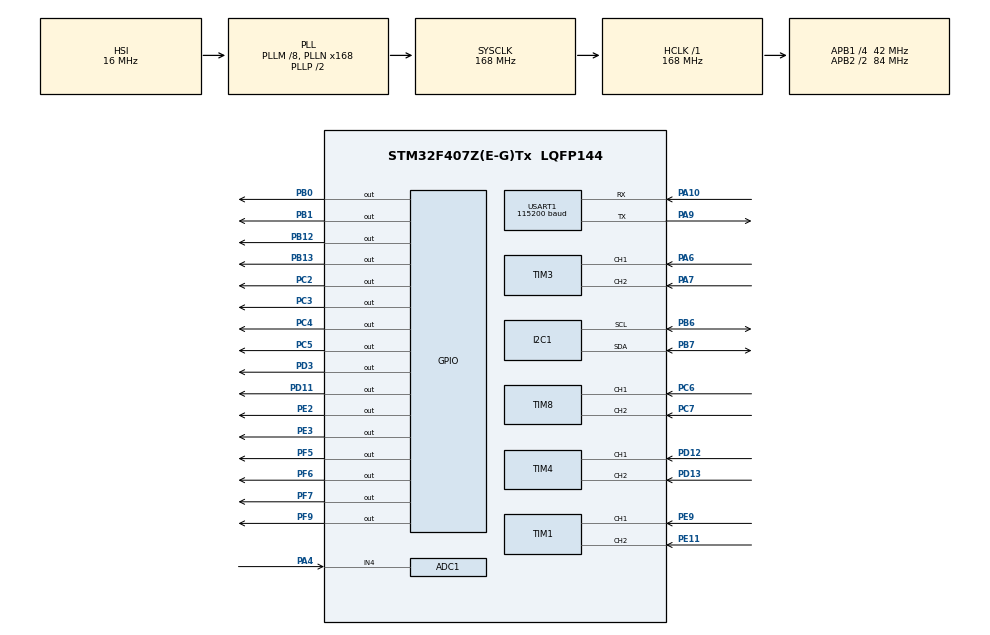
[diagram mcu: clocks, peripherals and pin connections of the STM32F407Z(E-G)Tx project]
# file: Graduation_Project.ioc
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ADC1.Channel-1\#ChannelRegularConversion=ADC_CHANNEL_4
ADC1.NbrOfConversionFlag=1
ADC1.Rank-1\#ChannelRegularConversion=1
ADC1.SamplingTime-1\#ChannelRegularConversion=ADC_SAMPLETIME_3CYCLES
ADC1.master=1
Dma.Request0=USART1_RX
Dma.Request1=USART1_TX
Dma.USART1_RX.0.Direction=DMA_PERIPH_TO_MEMORY
Dma.USART1_RX.0.FIFOMode=DMA_FIFOMODE_DISABLE
Dma.USART1_RX.0.Instance=DMA2_Stream2
Dma.USART1_RX.0.MemDataAlignment=DMA_MDATAALIGN_BYTE
Dma.USART1_RX.0.MemInc=DMA_MINC_ENABLE
Dma.USART1_RX.0.Mode=DMA_NORMAL
Dma.USART1_RX.0.PeriphDataAlignment=DMA_PDATAALIGN_BYTE
Dma.USART1_RX.0.PeriphInc=DMA_PINC_DISABLE
Dma.USART1_RX.0.Priority=DMA_PRIORITY_LOW
Dma.USART1_TX.1.Direction=DMA_MEMORY_TO_PERIPH
Dma.USART1_TX.1.FIFOMode=DMA_FIFOMODE_DISABLE
Dma.USART1_TX.1.Instance=DMA2_Stream7
Dma.USART1_TX.1.MemDataAlignment=DMA_MDATAALIGN_BYTE
Dma.USART1_TX.1.MemInc=DMA_MINC_ENABLE
Dma.USART1_TX.1.Mode=DMA_NORMAL
Dma.USART1_TX.1.PeriphDataAlignment=DMA_PDATAALIGN_BYTE
Dma.USART1_TX.1.PeriphInc=DMA_PINC_DISABLE
Dma.USART1_TX.1.Priority=DMA_PRIORITY_LOW
Mcu.Family=STM32F4
Mcu.Name=STM32F407Z(E-G)Tx
Mcu.Package=LQFP144
NVIC.DMA2_Stream2_IRQn=true\:0\:0\:false\:false\:true\:false\:true\:true
NVIC.DMA2_Stream7_IRQn=true\:0\:0\:false\:false\:true\:false\:true\:true
NVIC.PriorityGroup=NVIC_PRIORITYGROUP_4
NVIC.TIM7_IRQn=true\:3\:0\:true\:false\:true\:true\:true\:true
NVIC.TIM8_BRK_TIM12_IRQn=true\:3\:0\:true\:false\:true\:true\:true\:true
NVIC.TIM8_TRG_COM_TIM14_IRQn=true\:3\:0\:true\:false\:true\:true\:true\:true
NVIC.TIM8_UP_TIM13_IRQn=true\:3\:0\:true\:false\:true\:true\:true\:true
NVIC.USART1_IRQn=true\:0\:0\:false\:false\:true\:true\:true\:true
PA10.Mode=Asynchronous
PA10.Signal=USART1_RX
PA13.Mode=Serial_Wire
PA13.Signal=SYS_JTMS-SWDIO
PA14.Mode=Serial_Wire
PA14.Signal=SYS_JTCK-SWCLK
PA4.Signal=ADCx_IN4
PA6.GPIO_PuPd=GPIO_PULLUP
PA6.Signal=S_TIM3_CH1
PA7.GPIO_PuPd=GPIO_PULLUP
PA7.Signal=S_TIM3_CH2
PA9.Mode=Asynchronous
PA9.Signal=USART1_TX
PB0.GPIO_PuPd=GPIO_PULLUP
PB0.Signal=GPIO_Output
PB1.GPIO_PuPd=GPIO_PULLUP
PB1.Signal=GPIO_Output
PB12.GPIO_PuPd=GPIO_PULLUP
PB12.Signal=GPIO_Output
PB13.GPIO_PuPd=GPIO_PULLUP
PB13.Signal=GPIO_Output
PB6.Mode=I2C
PB6.Signal=I2C1_SCL
PB7.Mode=I2C
PB7.Signal=I2C1_SDA
PC14-OSC32_IN.Mode=LSE-External-Oscillator
PC14-OSC32_IN.Signal=RCC_OSC32_IN
PC15-OSC32_OUT.Mode=LSE-External-Oscillator
PC15-OSC32_OUT.Signal=RCC_OSC32_OUT
PC2.Signal=GPIO_Output
PC3.Signal=GPIO_Output
PC4.Signal=GPIO_Output
PC5.GPIO_PuPd=GPIO_PULLUP
PC5.Signal=GPIO_Output
PC6.GPIO_PuPd=GPIO_PULLUP
PC6.Signal=S_TIM8_CH1
PC7.GPIO_PuPd=GPIO_PULLUP
PC7.Signal=S_TIM8_CH2
PD11.GPIO_PuPd=GPIO_PULLUP
PD11.Signal=GPIO_Output
PD12.GPIO_PuPd=GPIO_PULLUP
PD12.Signal=S_TIM4_CH1
PD13.GPIO_PuPd=GPIO_PULLUP
PD13.Signal=S_TIM4_CH2
PD3.Signal=GPIO_Output
PE11.GPIO_PuPd=GPIO_PULLUP
PE11.Signal=S_TIM1_CH2
PE2.Signal=GPIO_Output
PE3.Signal=GPIO_Output
PE9.GPIO_PuPd=GPIO_PULLUP
PE9.Signal=S_TIM1_CH1
PF5.GPIO_PuPd=GPIO_PULLUP
PF5.Signal=GPIO_Output
PF6.GPIO_PuPd=GPIO_PULLUP
PF6.Signal=GPIO_Output
PF7.GPIO_PuPd=GPIO_PULLUP
PF7.Signal=GPIO_Output
PF9.Signal=GPIO_Output
PH0-OSC_IN.Mode=HSE-External-Oscillator
PH0-OSC_IN.Signal=RCC_OSC_IN
PH1-OSC_OUT.Mode=HSE-External-Oscillator
PH1-OSC_OUT.Signal=RCC_OSC_OUT
ProjectManager.HeapSize=0x200
ProjectManager.StackSize=0x400
ProjectManager.TargetToolchain=MDK-ARM V5.32
RCC.48MHZClocksFreq_Value=84000000
RCC.AHBFreq_Value=168000000
RCC.APB1CLKDivider=RCC_HCLK_DIV4
RCC.APB1Freq_Value=42000000
RCC.APB1TimFreq_Value=84000000
RCC.APB2CLKDivider=RCC_HCLK_DIV2
RCC.APB2Freq_Value=84000000
RCC.APB2TimFreq_Value=168000000
RCC.CortexFreq_Value=168000000
RCC.HCLKFreq_Value=168000000
RCC.HSE_VALUE=8000000
RCC.HSI_VALUE=16000000
RCC.PLLM=8
RCC.PLLN=168
RCC.SYSCLKFreq_VALUE=168000000
RCC.SYSCLKSource=RCC_SYSCLKSOURCE_PLLCLK
RCC.VCOOutputFreq_Value=336000000
SH.ADCx_IN4.0=ADC1_IN4,IN4
SH.S_TIM1_CH1.0=TIM1_CH1,Encoder_Interface
SH.S_TIM1_CH2.0=TIM1_CH2,Encoder_Interface
SH.S_TIM3_CH1.0=TIM3_CH1,Encoder_Interface
SH.S_TIM3_CH2.0=TIM3_CH2,Encoder_Interface
SH.S_TIM4_CH1.0=TIM4_CH1,Encoder_Interface
SH.S_TIM4_CH2.0=TIM4_CH2,Encoder_Interface
SH.S_TIM8_CH1.0=TIM8_CH1,Encoder_Interface
SH.S_TIM8_CH2.0=TIM8_CH2,Encoder_Interface
TIM1.EncoderMode=TIM_ENCODERMODE_TI12
TIM1.IC1Filter=6
TIM1.IC1Prescaler=TIM_ICPSC_DIV2
TIM1.IC2Filter=6
TIM1.IC2Prescaler=TIM_ICPSC_DIV2
TIM12.Period=499
TIM12.Prescaler=167
TIM13.Period=499
TIM13.Prescaler=167
TIM14.Period=499
TIM14.Prescaler=167
TIM3.EncoderMode=TIM_ENCODERMODE_TI12
TIM3.IC1Filter=6
TIM3.IC1Prescaler=TIM_ICPSC_DIV2
TIM3.IC2Filter=6
TIM3.IC2Prescaler=TIM_ICPSC_DIV2
TIM4.EncoderMode=TIM_ENCODERMODE_TI12
TIM4.IC1Filter=6
TIM4.IC1Prescaler=TIM_ICPSC_DIV2
TIM4.IC2Filter=6
TIM4.IC2Prescaler=TIM_ICPSC_DIV2
TIM7.Period=499
TIM7.Prescaler=167
TIM8.EncoderMode=TIM_ENCODERMODE_TI12
TIM8.IC1Filter=6
TIM8.IC1Prescaler=TIM_ICPSC_DIV2
TIM8.IC2Filter=6
TIM8.IC2Prescaler=TIM_ICPSC_DIV2
USART1.BaudRate=115200
USART1.VirtualMode=VM_ASYNC
VP_TIM12_VS_ClockSourceINT.Mode=Internal
VP_TIM13_VS_ClockSourceINT.Mode=Enable_Timer
VP_TIM14_VS_ClockSourceINT.Mode=Enable_Timer
VP_TIM7_VS_ClockSourceINT.Mode=Enable_Timer
board=custom

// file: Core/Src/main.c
/* USER CODE BEGIN Header */
/**
 ******************************************************************************
 * @file           : main.c
 * @brief          : Main program body
 ******************************************************************************
 * @attention
 *
 * Copyright (c) 2023 STMicroelectronics.
 * All rights reserved.
 *
 * This software is licensed under terms that can be found in the LICENSE file
 * in the root directory of this software component.
 * If no LICENSE file comes with this software, it is provided AS-IS.
 *
 ******************************************************************************
 */
/* USER CODE END Header */
#include "main.h"
#include "adc.h"
#include "dma.h"
#include "i2c.h"
#include "tim.h"
#include "usart.h"
#include "gpio.h"

/* USER CODE BEGIN Includes */
#include "motor.h"
#include "ds18b20.h"
/* USER CODE END Includes */

/* USER CODE BEGIN PV */
int Sys_Count = 0;
short temp;
extern uint8_t UART1_Speed_Flag;
extern uint8_t UART1_Report_Flag;
extern uint8_t UART1_Setting_Flag;
extern Motor_Parameter MOTOR_Parameters[];
extern uint8_t direction_Flag;
extern uint8_t Motor_Start_Flag;
/* USER CODE END PV */

void SystemClock_Config(void);

/* USER CODE BEGIN 0 */
// 要点选microlib
/**
 * @description: 重定向printf到串口输出
 * @param {int} ch
 * @param {FILE} *f
 * @return {*}
 */
int fputc(int ch, FILE *f)
{
  // 这里如果用DMA的话不太行，只能输出一个字节
  HAL_UART_Transmit(&huart1, (uint8_t *)&ch, 1, 1000);
  return ch;
}
/**
 * 此延时函数代码适用于HAL库
 */
void delay_us(uint32_t delay)
{
  int last, curr, val;
  int temp;

  while (delay != 0)
  {
    temp = delay > 900 ? 900 : delay;
    last = SysTick->VAL;
    curr = last - CPU_FREQUENCY_MHZ * temp;
    if (curr >= 0)
    {
      do
      {
        val = SysTick->VAL;
      } while ((val < last) && (val >= curr));
    }
    else
    {
      curr += CPU_FREQUENCY_MHZ * 1000;
      do
      {
        val = SysTick->VAL;
      } while ((val <= last) || (val > curr));
    }
    delay -= temp;
  }
}

/**
 * @description: 定时器回调函数
 * @param {TIM_HandleTypeDef} *htim 定时器指令
 * @return {*}
 */
void HAL_TIM_PeriodElapsedCallback(TIM_HandleTypeDef *htim)
{
  // 轮速脉冲输出
  if (htim->Instance == TIM7)
  {
    MOTOR1_SPEED;
  }
  if (htim->Instance == TIM12)
  {
    MOTOR2_SPEED;
  }
  if (htim->Instance == TIM13)
  {
    MOTOR3_SPEED;
  }
  if (htim->Instance == TIM14)
  {
    MOTOR4_SPEED;
  }
}
void HAL_SYSTICK_Callback(void)
{
  Sys_Count++;
  if (Sys_Count == 100) // 每0.1s传输一次速度数据 //编码器上限是32768
  {
    // HAL_GPIO_WritePin(GPIOF, GPIO_PIN_9, GPIO_PIN_RESET);
    //  填写电机参数
    Get_Encoder();
    // printf("%d",__HAL_TIM_GET_CLOCKDIVISION(&MOTOR_Parameters[0].htim_speed));
    // 暂时取消读取电流电压信息
    // Get_INA226();
    // printf("%d,%d",MOTOR_Parameters[0].current,MOTOR_Parameters[0].voltage);
    if (UART1_Report_Flag)
    {
      UART_Report_Handler(MOTOR_Parameters);
    }
    Sys_Count = 0;
    // temp=DS18B20_Get_Temperature();
    // printf("当前温度%0.2f \r\n",(float)temp/10);
  }
}
/* USER CODE END 0 */

int main(void)
{

  /* MCU Configuration--------------------------------------------------------*/

  /* Reset of all peripherals, Initializes the Flash interface and the Systick. */
  HAL_Init();

  /* Configure the system clock */
  SystemClock_Config();

  /* Initialize all configured peripherals */
  MX_GPIO_Init();
  MX_DMA_Init();
  MX_TIM1_Init();
  MX_TIM8_Init();
  MX_TIM14_Init();
  MX_TIM3_Init();
  MX_TIM4_Init();
  MX_TIM12_Init();
  MX_TIM13_Init();
  MX_TIM7_Init();
  MX_USART1_UART_Init();
  MX_I2C1_Init();
  MX_ADC1_Init();

  /* USER CODE BEGIN 2 */
  // 用哪个串口，发什么东西，东西长度多少，超时多少ms
  uint8_t activate_text[] = "MCU Activated";
  HAL_UART_Transmit_DMA(&huart1, activate_text, sizeof(activate_text));
  // 用哪个串口，收什么东西，长度多少
  // HAL_UART_Receive_IT(&huart1, (uint8_t *)aRxBuffer, 1);
  HAL_UART_Receive_DMA(&huart1, UART1_RX_BUF, UART1_RX_SIZE);

  // 使能idle中断
  __HAL_UART_ENABLE_IT(&huart1, UART_IT_IDLE);
  // 初始化电机定时器参数

  Motor_Init();
  // Motor_Start();
  /* USER CODE END 2 */

  /* Infinite loop */
  /* USER CODE BEGIN WHILE */
  int a = 0;
  while (1)
  {
    /* USER CODE END WHILE */

    /* USER CODE BEGIN 3 */
    /*    if (DS18B20_Init())
       {
         printf("ds18b20 init failed \r\n");
         HAL_Delay(1000);
       } */
    // 不加delay好像会跑飞了，导致还没改speed就把标志位改了
    HAL_Delay(1);
    // printf("main标志位为%d", UART1_Speed_Flag);

    if (UART1_Speed_Flag)
    {
      printf("main标志位为%d", UART1_Speed_Flag);
      if (Change_Direction() == 1 && Change_Speed() == 1)
      {
        UART1_Speed_Flag = 0;
      }
    }
    // 喂看门狗
    if (UART1_Setting_Flag || UART1_Speed_Flag)
    {
      // HAL_IWDG_Refresh(&hiwdg);
    }
    // TODO 这段看门狗需要删除，实际使用不能一直喂看门狗
    // HAL_IWDG_Refresh(&hiwdg);
  }
  /* USER CODE END 3 */
}

void SystemClock_Config(void)
{
  RCC_OscInitTypeDef RCC_OscInitStruct = {0};
  RCC_ClkInitTypeDef RCC_ClkInitStruct = {0};

  /** Configure the main internal regulator output voltage
   */
  __HAL_RCC_PWR_CLK_ENABLE();
  __HAL_PWR_VOLTAGESCALING_CONFIG(PWR_REGULATOR_VOLTAGE_SCALE1);

  /** Initializes the RCC Oscillators according to the specified parameters
   * in the RCC_OscInitTypeDef structure.
   */
  RCC_OscInitStruct.OscillatorType = RCC_OSCILLATORTYPE_HSI;
  RCC_OscInitStruct.HSIState = RCC_HSI_ON;
  RCC_OscInitStruct.HSICalibrationValue = RCC_HSICALIBRATION_DEFAULT;
  RCC_OscInitStruct.PLL.PLLState = RCC_PLL_ON;
  RCC_OscInitStruct.PLL.PLLSource = RCC_PLLSOURCE_HSI;
  RCC_OscInitStruct.PLL.PLLM = 8;
  RCC_OscInitStruct.PLL.PLLN = 168;
  RCC_OscInitStruct.PLL.PLLP = RCC_PLLP_DIV2;
  RCC_OscInitStruct.PLL.PLLQ = 4;
  if (HAL_RCC_OscConfig(&RCC_OscInitStruct) != HAL_OK)
  {
    Error_Handler();
  }

  /** Initializes the CPU, AHB and APB buses clocks
   */
  RCC_ClkInitStruct.ClockType = RCC_CLOCKTYPE_HCLK | RCC_CLOCKTYPE_SYSCLK | RCC_CLOCKTYPE_PCLK1 | RCC_CLOCKTYPE_PCLK2;
  RCC_ClkInitStruct.SYSCLKSource = RCC_SYSCLKSOURCE_PLLCLK;
  RCC_ClkInitStruct.AHBCLKDivider = RCC_SYSCLK_DIV1;
  RCC_ClkInitStruct.APB1CLKDivider = RCC_HCLK_DIV4;
  RCC_ClkInitStruct.APB2CLKDivider = RCC_HCLK_DIV2;

  if (HAL_RCC_ClockConfig(&RCC_ClkInitStruct, FLASH_LATENCY_5) != HAL_OK)
  {
    Error_Handler();
  }
}

void Error_Handler(void)
{
  __disable_irq();
  while (1)
  {
  }
}
